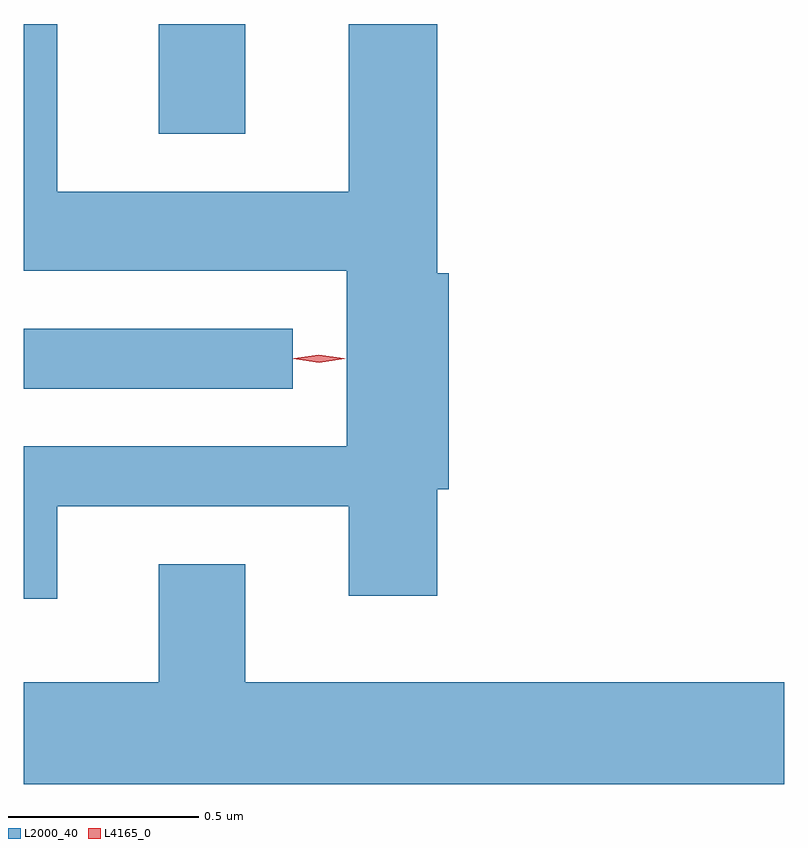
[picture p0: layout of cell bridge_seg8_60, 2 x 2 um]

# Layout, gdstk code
import gdstk
lib = gdstk.Library(unit=1e-6, precision=1e-09)
def R(c, l, rs):  # rectangles x0, y0, x1, y1
    for r in rs: c.add(gdstk.rectangle(r[:2], r[2:], *l))
def P(c, l, *ps):  # polygons
    for p in ps: c.add(gdstk.Polygon(p, *l))
L2000_40 = (2000, 40)
L4165_0 = (4165, 0)

bridge_seg8_60 = lib.new_cell('bridge_seg8_60')
R(bridge_seg8_60, L2000_40, [(1569.716,1904.056,1570.423,1904.214), (1570.071,1904.726,1570.299,1905.015)])
P(bridge_seg8_60, L2000_40, [(1569.804,1903.746),(1570.571,1903.746),(1570.571,1903.511),(1570.804,1903.511),(1570.804,1903.791),(1570.834,1903.791),(1570.834,1904.359),(1570.804,1904.359),(1570.804,1905.015),(1570.571,1905.015),(1570.571,1904.574),(1569.804,1904.574),(1569.804,1905.015),(1569.716,1905.015),(1569.716,1904.366),(1570.566,1904.366),(1570.566,1903.904),(1569.716,1903.904),(1569.716,1903.503),(1569.804,1903.503)],
  [(1571.716,1903.284),(1570.299,1903.284),(1570.299,1903.594),(1570.071,1903.594),(1570.071,1903.284),(1569.716,1903.284),(1569.716,1903.016),(1571.716,1903.016)])
P(bridge_seg8_60, L4165_0, [(1570.493,1904.124),(1570.424,1904.134),(1570.424,1904.134),(1570.424,1904.134),(1570.493,1904.144),(1570.561,1904.134),(1570.562,1904.134),(1570.561,1904.134)],
  [(1570.492,1904.125),(1570.427,1904.135),(1570.427,1904.135),(1570.427,1904.136),(1570.492,1904.145),(1570.557,1904.136),(1570.557,1904.135),(1570.557,1904.135)])

lib.write_gds('bridge_seg8_60.gds')
